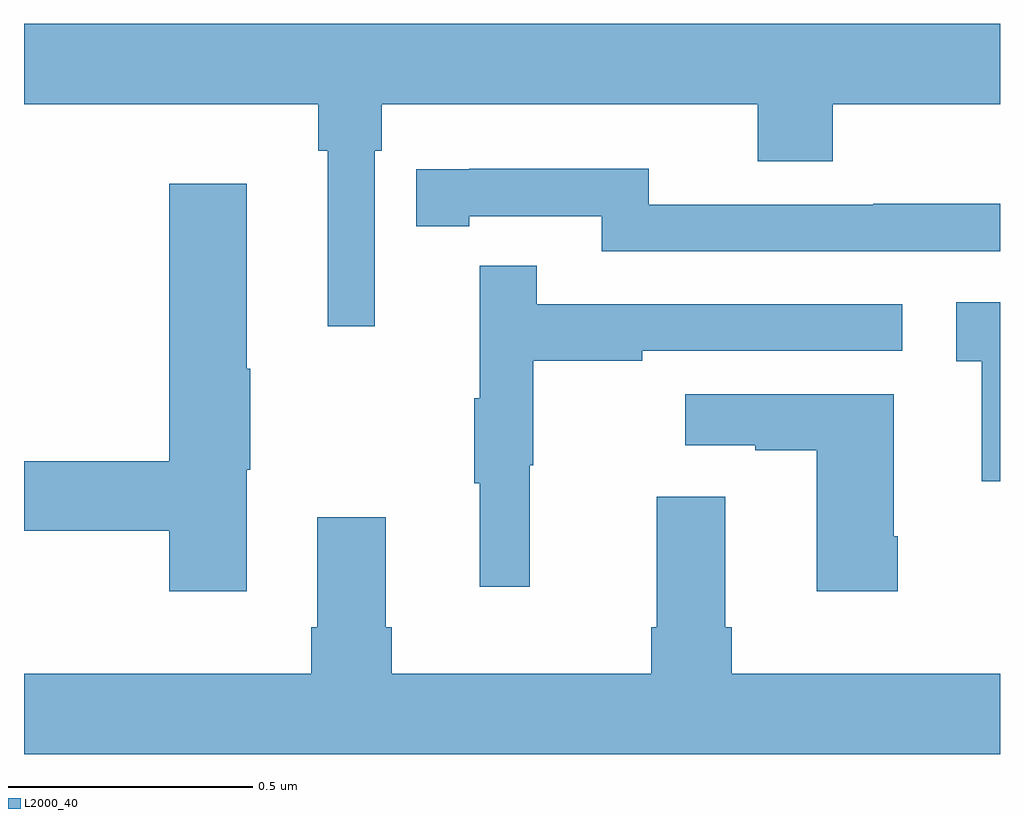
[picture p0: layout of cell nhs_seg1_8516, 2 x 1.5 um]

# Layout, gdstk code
import gdstk
lib = gdstk.Library(unit=1e-6, precision=1e-09)
def P(c, l, *ps):  # polygons
    for p in ps: c.add(gdstk.Polygon(p, *l))
L2000_40 = (2000, 40)

nhs_seg1_8516 = lib.new_cell('nhs_seg1_8516')
P(nhs_seg1_8516, L2000_40, [(217,551.732),(217.603,551.732),(217.603,551.636),(217.622,551.636),(217.622,551.277),(217.719,551.277),(217.719,551.636),(217.733,551.636),(217.733,551.732),(218.504,551.732),(218.504,551.615),(218.657,551.615),(218.657,551.732),(219,551.732),(219,551.896),(217,551.896)],
  [(219,551.528),(218.74,551.528),(218.74,551.526),(218.28,551.526),(218.28,551.599),(217.912,551.599),(217.912,551.598),(217.804,551.598),(217.804,551.482),(217.912,551.482),(217.912,551.502),(218.184,551.502),(218.184,551.43),(219,551.43)],
  [(217.456,550.983),(217.464,550.983),(217.464,551.189),(217.456,551.189),(217.456,551.569),(217.298,551.569),(217.298,551),(217,551),(217,550.858),(217.298,550.858),(217.298,550.734),(217.456,550.734)],
  [(218.036,550.992),(218.044,550.992),(218.044,551.206),(218.267,551.206),(218.267,551.226),(218.8,551.226),(218.8,551.322),(218.051,551.322),(218.051,551.401),(217.934,551.401),(217.934,551.129),(217.923,551.129),(217.923,550.955),(217.934,550.955),(217.934,550.743),(218.036,550.743)],
  [(219,551.326),(218.91,551.326),(218.91,551.205),(218.963,551.205),(218.963,550.959),(219,550.959)],
  [(218.79,550.846),(218.782,550.846),(218.782,551.137),(218.355,551.137),(218.355,551.033),(218.498,551.033),(218.498,551.023),(218.624,551.023),(218.624,550.734),(218.79,550.734)],
  [(219,550.564),(218.45,550.564),(218.45,550.66),(218.437,550.66),(218.437,550.927),(218.297,550.927),(218.297,550.66),(218.285,550.66),(218.285,550.564),(217.754,550.564),(217.754,550.66),(217.741,550.66),(217.741,550.885),(217.601,550.885),(217.601,550.66),(217.589,550.66),(217.589,550.564),(217,550.564),(217,550.4),(219,550.4)])

lib.write_gds('nhs_seg1_8516.gds')
